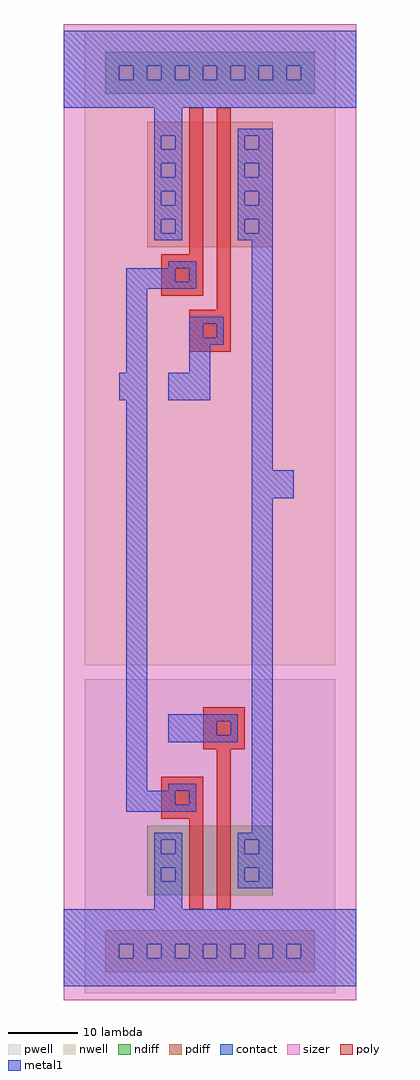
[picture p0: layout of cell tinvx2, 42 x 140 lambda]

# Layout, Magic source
magic
tech concept
<< sizer >>
rect 0 0 42 140
<< metal1 >>
rect 0 134 42 139
rect 0 132 8 134
rect 10 132 12 134
rect 14 132 16 134
rect 18 132 20 134
rect 22 132 24 134
rect 26 132 28 134
rect 30 132 32 134
rect 34 132 42 134
rect 0 128 42 132
rect 13 124 17 128
rect 25 124 30 125
rect 13 122 14 124
rect 16 122 17 124
rect 25 122 26 124
rect 28 122 30 124
rect 13 120 17 122
rect 25 120 30 122
rect 13 118 14 120
rect 16 118 17 120
rect 25 118 26 120
rect 28 118 30 120
rect 13 116 17 118
rect 25 116 30 118
rect 13 114 14 116
rect 16 114 17 116
rect 25 114 26 116
rect 28 114 30 116
rect 13 112 17 114
rect 25 112 30 114
rect 13 110 14 112
rect 16 110 17 112
rect 25 110 26 112
rect 28 110 30 112
rect 13 109 17 110
rect 25 109 30 110
rect 27 76 30 109
rect 15 105 19 106
rect 9 103 16 105
rect 18 103 19 105
rect 9 102 19 103
rect 9 90 12 102
rect 18 97 23 98
rect 18 95 20 97
rect 22 95 23 97
rect 18 94 23 95
rect 18 90 21 94
rect 8 86 12 90
rect 15 86 21 90
rect 9 30 12 86
rect 27 72 33 76
rect 27 24 30 72
rect 15 40 25 41
rect 15 38 22 40
rect 24 38 25 40
rect 15 37 25 38
rect 15 30 19 31
rect 9 28 16 30
rect 18 28 19 30
rect 9 27 19 28
rect 13 23 17 24
rect 25 23 30 24
rect 13 21 14 23
rect 16 21 17 23
rect 25 21 26 23
rect 28 21 30 23
rect 13 19 17 21
rect 25 19 30 21
rect 13 17 14 19
rect 16 17 17 19
rect 25 17 26 19
rect 28 17 30 19
rect 13 13 17 17
rect 25 16 30 17
rect 0 8 42 13
rect 0 6 8 8
rect 10 6 12 8
rect 14 6 16 8
rect 18 6 20 8
rect 22 6 24 8
rect 26 6 28 8
rect 30 6 32 8
rect 34 6 42 8
rect 0 2 42 6
<< contact >>
rect 8 132 10 134
rect 12 132 14 134
rect 16 132 18 134
rect 20 132 22 134
rect 24 132 26 134
rect 28 132 30 134
rect 32 132 34 134
rect 14 122 16 124
rect 26 122 28 124
rect 14 118 16 120
rect 26 118 28 120
rect 14 114 16 116
rect 26 114 28 116
rect 14 110 16 112
rect 26 110 28 112
rect 16 103 18 105
rect 20 95 22 97
rect 22 38 24 40
rect 16 28 18 30
rect 14 21 16 23
rect 26 21 28 23
rect 14 17 16 19
rect 26 17 28 19
rect 8 6 10 8
rect 12 6 14 8
rect 16 6 18 8
rect 20 6 22 8
rect 24 6 26 8
rect 28 6 30 8
rect 32 6 34 8
<< poly >>
rect 18 107 20 128
rect 22 99 24 128
rect 14 101 20 107
rect 18 93 24 99
rect 20 36 26 42
rect 22 13 24 36
rect 14 26 20 32
rect 18 13 20 26
<< ndiff >>
rect 6 130 36 136
rect 12 15 30 25
<< pdiff >>
rect 12 108 30 126
rect 6 4 36 10
<< nwell >>
rect 3 48 39 139
<< pwell >>
rect 3 1 39 46
<< end >>
